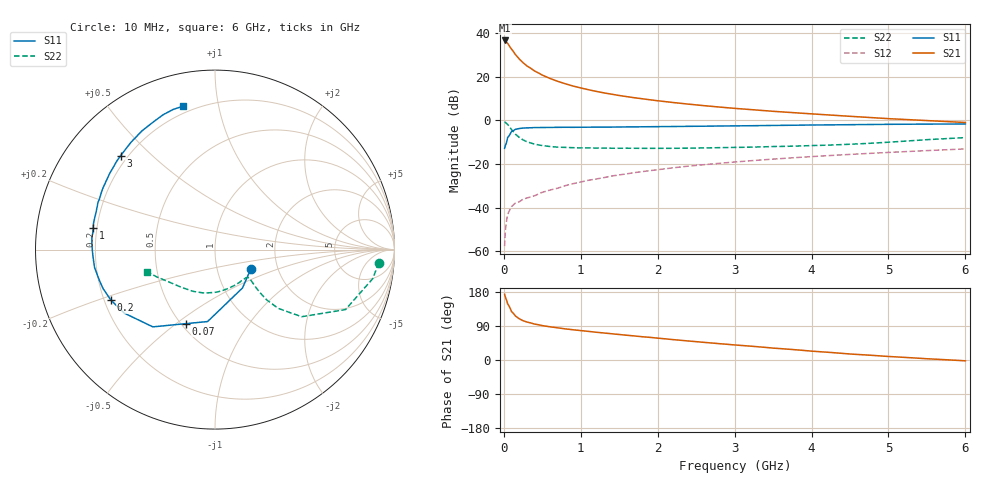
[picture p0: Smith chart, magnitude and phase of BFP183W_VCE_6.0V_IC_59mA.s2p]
! Infineon Technologies  Discrete & RF Semiconductors
! BFP183W
! VCE =  6.0 V,  IC =  59 mA
! Common Emitter S-Parameters:  Jan 2017
# GHz  S  MA  R  50
!  f  S11  S21  S12  S22
! GHz  MAG  ANG  MAG  ANG  MAG  ANG  MAG  ANG
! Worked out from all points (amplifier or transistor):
!   77 points, 10 MHz to 6 GHz, reference 50 ohm
!   highest |S21| = 36.5 dB at 10 MHz (marker M1)
!   |S21| within 3 dB of that: start of sweep to 80.62 MHz
!   unconditionally stable (mu >= 1): 529.9 MHz to 3.462 GHz
!   at 130 MHz: K = 0.46, MSG = 34.9 dB, |S12| = -38.6 dB
!   at 2.2 GHz: K = 1.10, MAG = 13.1 dB, |S12| = -21.8 dB
!   at 6 GHz: K = 0.86, MSG = 6.1 dB, |S12| = -13.2 dB
!   S11 on the Smith chart (normalised r, x): 10 MHz: 1.46, -0.33; 70 MHz: 0.53, -0.54; 200 MHz: 0.23, -0.22; 1 GHz: 0.18, +0.09; 3 GHz: 0.17, +0.40; 6 GHz: 0.16, +0.79
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0.01  0.227 -28.0  67.2 173.4  0.0013 77.7  0.915 -4.6
0.02  0.263 -54.4  65.97 166.1  0.003 81.3  0.894 -10.4
0.05  0.4029 -95.9  57.52 148.1  0.0069 61.7  0.8 -24.7
0.07  0.4438 -111.6  50.8 141.4  0.0083 59.1  0.7198 -29.1
0.1  0.5524 -128.8  42.51 127.7  0.0105 56.6  0.6101 -37.8
0.15  0.6173 -145.0  32.1 116.3  0.0126 51.7  0.4805 -42.9
0.2  0.6448 -154.2  25.3 108.9  0.0135 50.2  0.4036 -44.2
0.25  0.6604 -160.8  20.78 103.7  0.0155 51.0  0.3535 -43.8
0.3  0.6668 -165.2  17.55 100.1  0.0165 52.0  0.3206 -43.1
0.4  0.6785 -171.6  13.42 94.7  0.0186 57.2  0.282 -41.5
0.5  0.6806 -176.3  10.8 90.8  0.0223 60.0  0.2624 -40.5
0.6  0.6836 -179.8  9.054 87.6  0.0251 61.7  0.2496 -40.1
0.7  0.6866 177.3  7.779 84.9  0.0277 64.9  0.2418 -40.1
1  0.69 169.9  5.489 77.6  0.0384 67.7  0.232 -43.0
1.1  0.6925 167.7  4.995 75.5  0.0421 68.0  0.2318 -44.4
1.5  0.6989 159.9  3.683 67.3  0.0557 68.4  0.2277 -51.4
2.1  0.7145 149.2  2.665 55.8  0.0772 67.2  0.2269 -65.4
3  0.7417 135.2  1.869 39.7  0.1102 62.4  0.2384 -90.3
3.1  0.7442 133.8  1.812 38.2  0.1138 61.8  0.2395 -93.1
4.1  0.7788 120.4  1.362 22.0  0.1501 55.4  0.2649 -120.5
5.1  0.8066 110.2  1.064 8.2  0.1863 48.2  0.3215 -147.0
6  0.8189 102.4  0.886 -2.2  0.22 41.3  0.3996 -162.2
